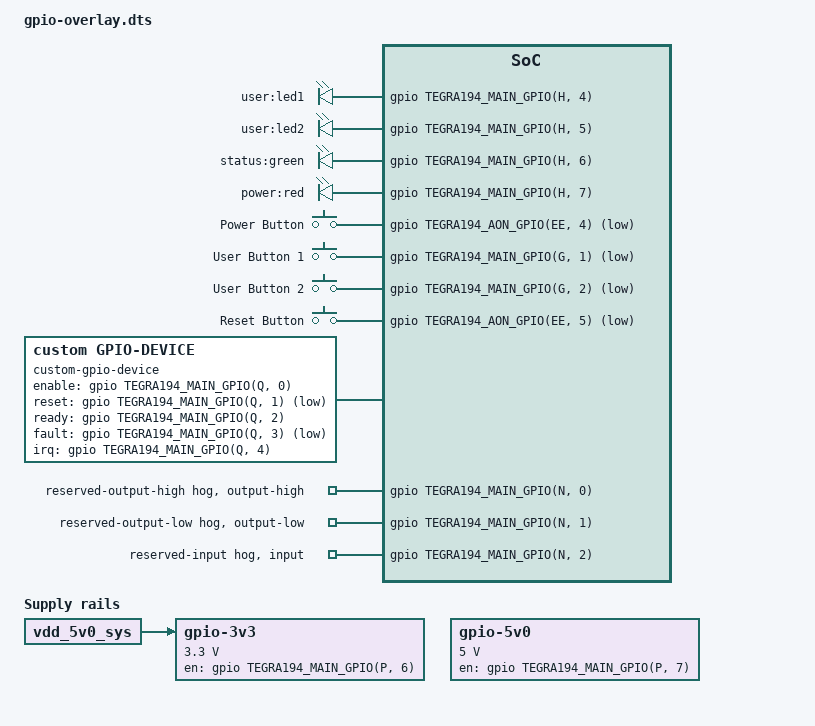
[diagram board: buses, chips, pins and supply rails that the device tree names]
/*
 * GPIO Configuration Device Tree Overlay for NVIDIA Jetson
 *
 * This overlay demonstrates:
 * - GPIO pin configuration
 * - Pin muxing and configuration
 * - GPIO-based devices (buttons, LEDs)
 * - GPIO interrupts
 * - GPIO line naming
 *
 * Compatible with: Jetson TX2, Xavier, Orin
 * Kernel: 5.10+
 *
 * To compile:
 *   dtc -@ -I dts -O dtb -o gpio-overlay.dtbo gpio-overlay.dts
 *
 * To apply overlay (runtime):
 *   sudo mkdir -p /sys/kernel/config/device-tree/overlays/gpio
 *   sudo cat gpio-overlay.dtbo > /sys/kernel/config/device-tree/overlays/gpio/dtbo
 *
 * To remove overlay:
 *   sudo rmdir /sys/kernel/config/device-tree/overlays/gpio
 */

/dts-v1/;
/plugin/;

/* Include Tegra GPIO definitions */
#include <dt-bindings/gpio/tegra194-gpio.h>
#include <dt-bindings/interrupt-controller/irq.h>
#include <dt-bindings/pinctrl/pinctrl-tegra.h>

/* For other Jetson platforms, use appropriate headers:
 * Jetson TX2:   tegra186-gpio.h
 * Jetson Nano:  tegra210-gpio.h
 * Jetson Xavier: tegra194-gpio.h
 * Jetson Orin:  tegra234-gpio.h
 */

/ {
    /* Overlay metadata */
    fragment@0 {
        target-path = "/";
        __overlay__ {
            compatible = "nvidia,jetson";

            /*
             * GPIO Controller Configuration
             */
            gpio@2200000 {
                /* Enable GPIO controller if disabled */
                status = "okay";

                /* GPIO line names for easier identification */
                gpio-line-names =
                    /* GPIO chip 0 (AON GPIO) */
                    "GPIO00", "GPIO01", "GPIO02", "GPIO03",
                    "GPIO04", "GPIO05", "GPIO06", "GPIO07",
                    /* Add more as needed */
                    "";
            };

            /*
             * GPIO-based LED Configuration
             */
            gpio-leds {
                compatible = "gpio-leds";
                status = "okay";

                /* User LED 1 - Heartbeat */
                led-user1 {
                    label = "user:led1";
                    /* Use GPIO12 (adjust for your board) */
                    gpios = <&gpio TEGRA194_MAIN_GPIO(H, 4) GPIO_ACTIVE_HIGH>;
                    linux,default-trigger = "heartbeat";
                    default-state = "off";
                };

                /* User LED 2 - CPU Activity */
                led-user2 {
                    label = "user:led2";
                    gpios = <&gpio TEGRA194_MAIN_GPIO(H, 5) GPIO_ACTIVE_HIGH>;
                    linux,default-trigger = "cpu0";
                    default-state = "off";
                };

                /* Status LED - Default On */
                led-status {
                    label = "status:green";
                    gpios = <&gpio TEGRA194_MAIN_GPIO(H, 6) GPIO_ACTIVE_HIGH>;
                    linux,default-trigger = "default-on";
                    default-state = "on";
                };

                /* Power LED - Always On */
                led-power {
                    label = "power:red";
                    gpios = <&gpio TEGRA194_MAIN_GPIO(H, 7) GPIO_ACTIVE_HIGH>;
                    default-state = "on";
                    retain-state-suspended;
                };
            };

            /*
             * GPIO-based Button Configuration
             */
            gpio-keys {
                compatible = "gpio-keys";
                status = "okay";

                /* Power Button */
                power-button {
                    label = "Power Button";
                    gpios = <&gpio TEGRA194_AON_GPIO(EE, 4) GPIO_ACTIVE_LOW>;
                    linux,code = <116>;  /* KEY_POWER */
                    linux,input-type = <1>;  /* EV_KEY */
                    gpio-key,wakeup;
                    debounce-interval = <10>;
                };

                /* User Button 1 */
                user-button1 {
                    label = "User Button 1";
                    gpios = <&gpio TEGRA194_MAIN_GPIO(G, 1) GPIO_ACTIVE_LOW>;
                    linux,code = <256>;  /* BTN_0 */
                    linux,input-type = <1>;
                    debounce-interval = <50>;
                };

                /* User Button 2 */
                user-button2 {
                    label = "User Button 2";
                    gpios = <&gpio TEGRA194_MAIN_GPIO(G, 2) GPIO_ACTIVE_LOW>;
                    linux,code = <257>;  /* BTN_1 */
                    linux,input-type = <1>;
                    debounce-interval = <50>;
                };

                /* Reset Button */
                reset-button {
                    label = "Reset Button";
                    gpios = <&gpio TEGRA194_AON_GPIO(EE, 5) GPIO_ACTIVE_LOW>;
                    linux,code = <0x198>;  /* KEY_RESTART */
                    linux,input-type = <1>;
                    debounce-interval = <10>;
                };
            };

            /*
             * GPIO Regulator Example
             * Control a power regulator using GPIO
             */
            gpio-regulator-3v3 {
                compatible = "regulator-fixed";
                regulator-name = "gpio-3v3";
                regulator-min-microvolt = <3300000>;
                regulator-max-microvolt = <3300000>;
                gpio = <&gpio TEGRA194_MAIN_GPIO(P, 6) GPIO_ACTIVE_HIGH>;
                enable-active-high;
                regulator-boot-on;
                regulator-always-on;
                vin-supply = <&vdd_5v0_sys>;
            };

            gpio-regulator-5v0 {
                compatible = "regulator-fixed";
                regulator-name = "gpio-5v0";
                regulator-min-microvolt = <5000000>;
                regulator-max-microvolt = <5000000>;
                gpio = <&gpio TEGRA194_MAIN_GPIO(P, 7) GPIO_ACTIVE_HIGH>;
                enable-active-high;
                regulator-boot-on;
            };

            /*
             * Custom GPIO Device Example
             */
            custom-gpio-device {
                compatible = "custom,gpio-device";
                status = "okay";

                /* Control GPIOs */
                enable-gpios = <&gpio TEGRA194_MAIN_GPIO(Q, 0) GPIO_ACTIVE_HIGH>;
                reset-gpios = <&gpio TEGRA194_MAIN_GPIO(Q, 1) GPIO_ACTIVE_LOW>;

                /* Status GPIOs (input) */
                ready-gpios = <&gpio TEGRA194_MAIN_GPIO(Q, 2) GPIO_ACTIVE_HIGH>;
                fault-gpios = <&gpio TEGRA194_MAIN_GPIO(Q, 3) GPIO_ACTIVE_LOW>;

                /* Interrupt GPIO */
                interrupt-parent = <&gpio>;
                interrupts = <TEGRA194_MAIN_GPIO(Q, 4) IRQ_TYPE_EDGE_RISING>;
                interrupt-names = "data-ready";
            };
        };
    };

    /*
     * Pinmux Configuration Fragment
     * Configure pin functions and electrical properties
     */
    fragment@1 {
        target = <&pinmux>;
        __overlay__ {
            /* GPIO pins configuration */
            custom_gpio_pins: custom-gpio-pins {
                /* GPIO H4-H7 configuration (LEDs) */
                gpio-h4-h7 {
                    nvidia,pins = "gpio_h4_ph4", "gpio_h5_ph5",
                                  "gpio_h6_ph6", "gpio_h7_ph7";
                    nvidia,function = "rsvd0";  /* GPIO function */
                    nvidia,pull = <TEGRA_PIN_PULL_NONE>;
                    nvidia,tristate = <TEGRA_PIN_DISABLE>;
                    nvidia,enable-input = <TEGRA_PIN_DISABLE>;
                };

                /* GPIO G1-G2 configuration (Buttons) */
                gpio-g1-g2 {
                    nvidia,pins = "gpio_g1_pg1", "gpio_g2_pg2";
                    nvidia,function = "rsvd0";
                    nvidia,pull = <TEGRA_PIN_PULL_UP>;  /* Pull-up for buttons */
                    nvidia,tristate = <TEGRA_PIN_DISABLE>;
                    nvidia,enable-input = <TEGRA_PIN_ENABLE>;
                };

                /* Custom device pins */
                custom-device-pins {
                    nvidia,pins = "gpio_q0_pq0", "gpio_q1_pq1",
                                  "gpio_q2_pq2", "gpio_q3_pq3";
                    nvidia,function = "rsvd0";
                    nvidia,pull = <TEGRA_PIN_PULL_NONE>;
                    nvidia,tristate = <TEGRA_PIN_DISABLE>;
                    nvidia,enable-input = <TEGRA_PIN_ENABLE>;
                    nvidia,io-high-voltage = <TEGRA_PIN_DISABLE>;
                    nvidia,lpdr = <TEGRA_PIN_DISABLE>;
                };

                /* Interrupt pin configuration */
                interrupt-pin {
                    nvidia,pins = "gpio_q4_pq4";
                    nvidia,function = "rsvd0";
                    nvidia,pull = <TEGRA_PIN_PULL_DOWN>;
                    nvidia,tristate = <TEGRA_PIN_DISABLE>;
                    nvidia,enable-input = <TEGRA_PIN_ENABLE>;
                    nvidia,io-high-voltage = <TEGRA_PIN_DISABLE>;
                };
            };
        };
    };

    /*
     * GPIO Hog Configuration
     * Reserve GPIOs in specific states
     */
    fragment@2 {
        target = <&gpio>;
        __overlay__ {
            /* Reserve GPIO for output high */
            gpio-hog-output-high {
                gpio-hog;
                gpios = <TEGRA194_MAIN_GPIO(N, 0) GPIO_ACTIVE_HIGH>;
                output-high;
                line-name = "reserved-output-high";
            };

            /* Reserve GPIO for output low */
            gpio-hog-output-low {
                gpio-hog;
                gpios = <TEGRA194_MAIN_GPIO(N, 1) GPIO_ACTIVE_HIGH>;
                output-low;
                line-name = "reserved-output-low";
            };

            /* Reserve GPIO as input */
            gpio-hog-input {
                gpio-hog;
                gpios = <TEGRA194_MAIN_GPIO(N, 2) GPIO_ACTIVE_HIGH>;
                input;
                line-name = "reserved-input";
            };
        };
    };
};

/*
 * Usage Notes:
 * ============
 *
 * 1. Compilation:
 *    dtc -@ -I dts -O dtb -o gpio-overlay.dtbo gpio-overlay.dts
 *
 * 2. Check for errors:
 *    dtc -@ -I dts -O dtb -o gpio-overlay.dtbo gpio-overlay.dts 2>&1 | less
 *
 * 3. Install overlay (boot time):
 *    - Copy to /boot/dtb/overlays/
 *    - Add to /boot/extlinux/extlinux.conf:
 *      FDT /boot/dtb/kernel_tegra194-overlay.dtb
 *
 * 4. Install overlay (runtime - ConfigFS):
 *    sudo mkdir -p /sys/kernel/config/device-tree/overlays/gpio
 *    sudo cat gpio-overlay.dtbo > /sys/kernel/config/device-tree/overlays/gpio/dtbo
 *
 * 5. Verify GPIO configuration:
 *    cat /sys/kernel/debug/gpio
 *    gpioinfo
 *    gpioget gpiochip0 12
 *    gpioset gpiochip0 12=1
 *
 * 6. Test LEDs:
 *    cd /sys/class/leds/
 *    echo 1 > user:led1/brightness
 *    echo heartbeat > user:led1/trigger
 *
 * 7. Test buttons:
 *    evtest /dev/input/event0
 *
 * 8. Monitor interrupts:
 *    cat /proc/interrupts | grep gpio
 *    watch -n 1 'cat /proc/interrupts | grep gpio'
 *
 * Pin Naming Convention:
 * ======================
 * TEGRA194_MAIN_GPIO(port, pin)
 *   Port: A-Z, AA-EE
 *   Pin: 0-7
 *   Example: TEGRA194_MAIN_GPIO(H, 4) = GPIO H4
 *
 * TEGRA194_AON_GPIO(port, pin)
 *   Always-On GPIO (survives sleep states)
 *   Example: TEGRA194_AON_GPIO(EE, 4)
 *
 * GPIO Calculation:
 * =================
 * For Jetson Xavier/Orin:
 *   Main GPIO base: varies by SoC
 *   Calculate: (port - 'A') * 8 + pin
 *   Example: GPIO H4 = (7 * 8) + 4 = 60
 *
 * Troubleshooting:
 * ================
 * - Check kernel messages: dmesg | grep gpio
 * - Verify GPIO availability: cat /sys/kernel/debug/gpio
 * - Check pin mux: cat /sys/kernel/debug/pinctrl/*/pinmux-pins
 * - Verify device tree: ls /proc/device-tree/
 * - Check GPIO export: ls /sys/class/gpio/
 */
